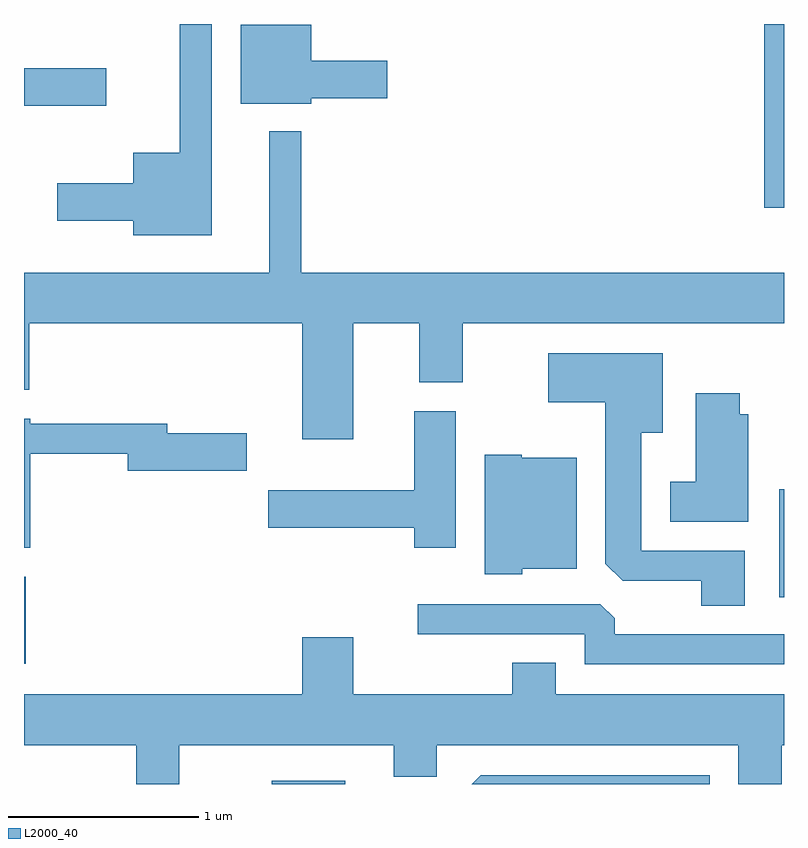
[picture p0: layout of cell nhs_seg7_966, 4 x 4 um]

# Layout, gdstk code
import gdstk
lib = gdstk.Library(unit=1e-6, precision=1e-09)
def R(c, l, rs):  # rectangles x0, y0, x1, y1
    for r in rs: c.add(gdstk.rectangle(r[:2], r[2:], *l))
def P(c, l, *ps):  # polygons
    for p in ps: c.add(gdstk.Polygon(p, *l))
L2000_40 = (2000, 40)

nhs_seg7_966 = lib.new_cell('nhs_seg7_966')
R(nhs_seg7_966, L2000_40, [(214.916,1796.252,215.303,1796.269), (213.611,1796.886,213.619,1797.344), (217.586,1797.236,217.611,1797.804), (217.506,1799.286,217.611,1800.252), (213.611,1799.821,214.044,1800.019)])
P(nhs_seg7_966, L2000_40, [(214.599,1800.252),(214.431,1800.252),(214.431,1799.574),(214.186,1799.574),(214.186,1799.414),(213.786,1799.414),(213.786,1799.216),(214.186,1799.216),(214.186,1799.141),(214.599,1799.141)],
  [(215.124,1799.861),(215.524,1799.861),(215.524,1800.059),(215.124,1800.059),(215.124,1800.249),(214.751,1800.249),(214.751,1799.831),(215.124,1799.831)],
  [(215.344,1798.676),(215.691,1798.676),(215.691,1798.366),(215.919,1798.366),(215.919,1798.676),(217.611,1798.676),(217.611,1798.944),(215.069,1798.944),(215.069,1799.688),(214.901,1799.688),(214.901,1798.944),(213.611,1798.944),(213.611,1798.326),(213.639,1798.326),(213.639,1798.676),(215.076,1798.676),(215.076,1798.066),(215.344,1798.066)],
  [(217.404,1797.479),(216.859,1797.479),(216.859,1798.101),(216.974,1798.101),(216.974,1798.519),(216.371,1798.519),(216.371,1798.261),(216.671,1798.261),(216.671,1797.412),(216.762,1797.321),(217.176,1797.321),(217.176,1797.191),(217.404,1797.191)],
  [(217.424,1798.199),(217.379,1798.199),(217.379,1798.309),(217.146,1798.309),(217.146,1797.844),(217.011,1797.844),(217.011,1797.631),(217.424,1797.631)],
  [(215.884,1798.214),(215.666,1798.214),(215.666,1797.799),(214.896,1797.799),(214.896,1797.601),(215.666,1797.601),(215.666,1797.496),(215.884,1797.496)],
  [(213.644,1797.991),(214.156,1797.991),(214.156,1797.901),(214.784,1797.901),(214.784,1798.099),(214.364,1798.099),(214.364,1798.149),(213.644,1798.149),(213.644,1798.174),(213.611,1798.174),(213.611,1797.496),(213.644,1797.496)],
  [(216.234,1797.386),(216.519,1797.386),(216.519,1797.969),(216.23,1797.969),(216.23,1797.984),(216.036,1797.984),(216.036,1797.356),(216.234,1797.356)],
  [(217.611,1797.039),(216.719,1797.039),(216.719,1797.124),(216.644,1797.199),(215.683,1797.199),(215.683,1797.041),(216.561,1797.041),(216.561,1796.881),(217.611,1796.881)],
  [(214.429,1796.456),(215.556,1796.456),(215.556,1796.291),(215.784,1796.291),(215.784,1796.456),(217.371,1796.456),(217.371,1796.252),(217.599,1796.252),(217.599,1796.456),(217.611,1796.456),(217.611,1796.724),(216.409,1796.724),(216.409,1796.889),(216.181,1796.889),(216.181,1796.724),(215.344,1796.724),(215.344,1797.024),(215.076,1797.024),(215.076,1796.724),(213.611,1796.724),(213.611,1796.456),(214.201,1796.456),(214.201,1796.252),(214.429,1796.252)],
  [(217.219,1796.299),(216.014,1796.299),(215.967,1796.252),(217.219,1796.252)])

lib.write_gds('nhs_seg7_966.gds')
